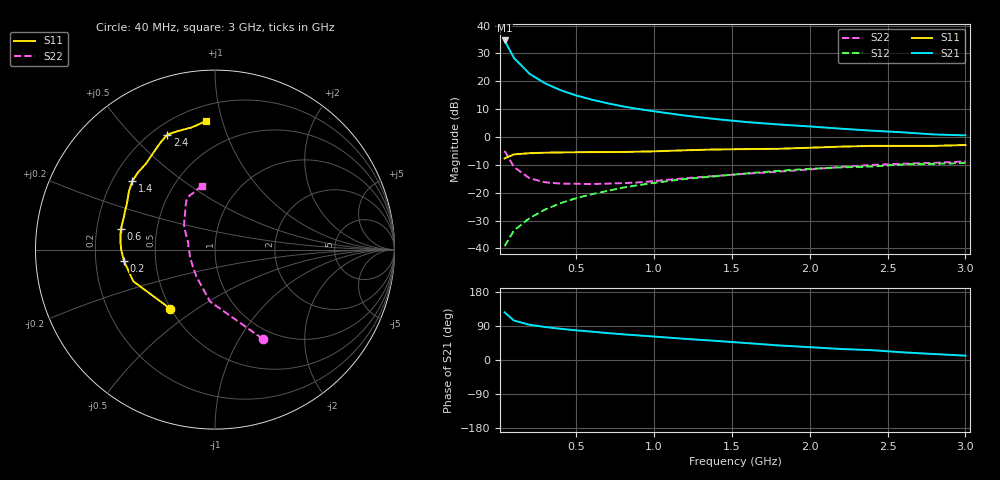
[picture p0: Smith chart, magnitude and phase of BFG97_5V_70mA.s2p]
! Filename:  BFG97D.S2P  Version:  2.0
! Philips part #: BFG97  Date: Jul 1990
! Bias condition: Vce=5V, Ic=70mA
#  MHz  S  MA  R  50
! Freq  S11  S21  S12  S22  !GUM [dB]
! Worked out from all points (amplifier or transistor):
!   21 points, 40 MHz to 3 GHz, reference 50 ohm
!   highest |S21| = 34.6 dB at 40 MHz (marker M1)
!   |S21| within 3 dB of that: start of sweep to 68.65 MHz
!   unconditionally stable (mu >= 1): 193.6 MHz to 2.918 GHz
!   at 300 MHz: K = 1.05, MAG = 21.3 dB, |S12| = -26.0 dB
!   at 1 GHz: K = 1.08, MAG = 11.1 dB, |S12| = -16.5 dB
!   at 3 GHz: K = 0.98, MSG = 5.0 dB, |S12| = -9.3 dB
!   S11 on the Smith chart (normalised r, x): 40 MHz: 0.50, -0.40; 200 MHz: 0.32, -0.05; 600 MHz: 0.31, +0.10; 1.4 GHz: 0.28, +0.33; 2.4 GHz: 0.26, +0.64; 3 GHz: 0.30, +0.89
40  0.413 -127.0  54 125.8  0.011 67.6  0.564 -61.9
100  0.488 -158.7  26.2 104.1  0.021 67.1  0.29 -95.6
200  0.512 -173.1  13.63 93.0  0.035 72.1  0.182 -124.9
300  0.523 179.7  9.172 87.1  0.05 72.7  0.154 -144.1
400  0.529 175.0  6.916 82.3  0.065 72.4  0.146 -156.8
500  0.533 171.4  5.563 78.3  0.08 71.9  0.145 -166.6
600  0.536 167.8  4.682 74.8  0.094 70.9  0.143 -174.4
700  0.537 164.0  4.034 71.1  0.108 70.1  0.146 179.4
800  0.539 160.2  3.549 67.8  0.123 68.7  0.149 172.9
900  0.546 156.6  3.181 64.8  0.137 67.3  0.153 166.7
1000  0.553 152.7  2.895 61.9  0.15 66.0  0.162 161.1
1200  0.578 146.1  2.422 55.8  0.177 63.0  0.182 152.5
1400  0.598 140.4  2.092 50.4  0.198 59.7  0.201 146.6
1600  0.607 135.3  1.848 44.5  0.223 57.8  0.22 141.5
1800  0.615 128.4  1.679 38.5  0.247 53.1  0.239 135.5
2000  0.642 122.0  1.547 33.8  0.269 50.7  0.262 129.5
2200  0.672 116.5  1.411 29.1  0.285 47.5  0.29 124.6
2400  0.693 112.5  1.299 25.9  0.296 46.2  0.315 120.5
2600  0.692 107.5  1.213 20.2  0.322 42.1  0.332 115.4
2800  0.693 100.7  1.111 15.7  0.33 37.2  0.343 108.8
3000  0.719 93.8  1.07 11.5  0.342 35.4  0.364 101.8
